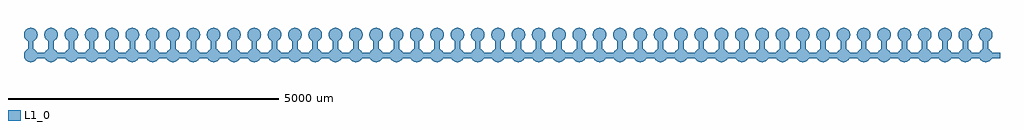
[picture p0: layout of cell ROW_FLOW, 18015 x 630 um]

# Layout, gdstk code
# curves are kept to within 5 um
import gdstk
lib = gdstk.Library(unit=1e-6, precision=1e-09)
def R(c, l, rs):  # rectangles x0, y0, x1, y1
    for r in rs: c.add(gdstk.rectangle(r[:2], r[2:], *l))
def P(c, l, *ps):  # polygons
    for p in ps: c.add(gdstk.Polygon(p, *l))
L1_0 = (1, 0)

flow_unitcell = lib.new_cell('FLOW_UNITCELL')
R(flow_unitcell, L1_0, [(214,-425,365,-325), (50,-260,150,-110)])
P(flow_unitcell, L1_0, [(225,5),(217.462,47.753),(188.388,93.388),(142.753,122.462),(100,130),(57.247,122.462),(11.612,93.388),(-17.462,47.753),(-25,5),(-17.462,-37.753),(11.612,-83.388),(57.247,-112.462),(100,-120),(142.753,-112.462),(188.388,-83.388),(217.462,-37.753)],
  [(225,-375),(217.462,-332.247),(188.388,-286.612),(142.753,-257.538),(100,-250),(57.247,-257.538),(11.612,-286.612),(-17.462,-332.247),(-25,-375),(-17.462,-417.753),(11.612,-463.388),(57.247,-492.462),(100,-500),(142.753,-492.462),(188.388,-463.388),(217.462,-417.753)])

row_flow = lib.new_cell('ROW_FLOW')
row_flow.add(gdstk.Reference(flow_unitcell, (0,0)))
row_flow.add(gdstk.Reference(flow_unitcell, (375,0)))
row_flow.add(gdstk.Reference(flow_unitcell, (750,0)))
row_flow.add(gdstk.Reference(flow_unitcell, (1125,0)))
row_flow.add(gdstk.Reference(flow_unitcell, (1500,0)))
row_flow.add(gdstk.Reference(flow_unitcell, (1875,0)))
row_flow.add(gdstk.Reference(flow_unitcell, (2250,0)))
row_flow.add(gdstk.Reference(flow_unitcell, (2625,0)))
row_flow.add(gdstk.Reference(flow_unitcell, (3000,0)))
row_flow.add(gdstk.Reference(flow_unitcell, (3375,0)))
row_flow.add(gdstk.Reference(flow_unitcell, (3750,0)))
row_flow.add(gdstk.Reference(flow_unitcell, (4125,0)))
row_flow.add(gdstk.Reference(flow_unitcell, (4500,0)))
row_flow.add(gdstk.Reference(flow_unitcell, (4875,0)))
row_flow.add(gdstk.Reference(flow_unitcell, (5250,0)))
row_flow.add(gdstk.Reference(flow_unitcell, (5625,0)))
row_flow.add(gdstk.Reference(flow_unitcell, (6000,0)))
row_flow.add(gdstk.Reference(flow_unitcell, (6375,0)))
row_flow.add(gdstk.Reference(flow_unitcell, (6750,0)))
row_flow.add(gdstk.Reference(flow_unitcell, (7125,0)))
row_flow.add(gdstk.Reference(flow_unitcell, (7500,0)))
row_flow.add(gdstk.Reference(flow_unitcell, (7875,0)))
row_flow.add(gdstk.Reference(flow_unitcell, (8250,0)))
row_flow.add(gdstk.Reference(flow_unitcell, (8625,0)))
row_flow.add(gdstk.Reference(flow_unitcell, (9000,0)))
row_flow.add(gdstk.Reference(flow_unitcell, (9375,0)))
row_flow.add(gdstk.Reference(flow_unitcell, (9750,0)))
row_flow.add(gdstk.Reference(flow_unitcell, (10125,0)))
row_flow.add(gdstk.Reference(flow_unitcell, (10500,0)))
row_flow.add(gdstk.Reference(flow_unitcell, (10875,0)))
row_flow.add(gdstk.Reference(flow_unitcell, (11250,0)))
row_flow.add(gdstk.Reference(flow_unitcell, (11625,0)))
row_flow.add(gdstk.Reference(flow_unitcell, (12000,0)))
row_flow.add(gdstk.Reference(flow_unitcell, (12375,0)))
row_flow.add(gdstk.Reference(flow_unitcell, (12750,0)))
row_flow.add(gdstk.Reference(flow_unitcell, (13125,0)))
row_flow.add(gdstk.Reference(flow_unitcell, (13500,0)))
row_flow.add(gdstk.Reference(flow_unitcell, (13875,0)))
row_flow.add(gdstk.Reference(flow_unitcell, (14250,0)))
row_flow.add(gdstk.Reference(flow_unitcell, (14625,0)))
row_flow.add(gdstk.Reference(flow_unitcell, (15000,0)))
row_flow.add(gdstk.Reference(flow_unitcell, (15375,0)))
row_flow.add(gdstk.Reference(flow_unitcell, (15750,0)))
row_flow.add(gdstk.Reference(flow_unitcell, (16125,0)))
row_flow.add(gdstk.Reference(flow_unitcell, (16500,0)))
row_flow.add(gdstk.Reference(flow_unitcell, (16875,0)))
row_flow.add(gdstk.Reference(flow_unitcell, (17250,0)))
row_flow.add(gdstk.Reference(flow_unitcell, (17625,0)))

lib.write_gds('ROW_FLOW.gds')
